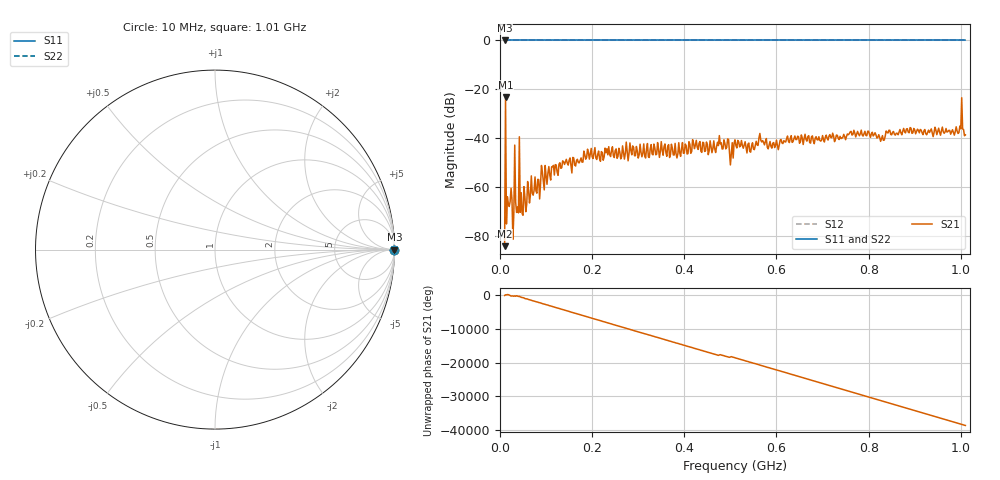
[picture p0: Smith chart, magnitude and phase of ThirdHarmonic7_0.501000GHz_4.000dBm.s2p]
! 8/17/2025 2:21:43 PM
! C:\ANRITSUVNA\TEMP\TEMP.S2P
! CHANNEL.1
! TR.MEASUREMENT
! RAW.DATA
! RF.CORRECTION.OFF
! AVERAGING.OFF
! IF.BANDWIDTH: 5KHZ
! SWEEPTYPE:  FREQ.SWEEP(Linear)
! Reference Plane Port Info
! PORT:  PORT1  PORT2
! DISTANCE:  0  m  0  m
! TIME:  0  s  0  s
! PHASE.OFFSET:  0  deg.  0  deg.
! LOSS:  0  dB  0  dB
! REF.LOSS:  0  dB  0  dB
! REF.FREQ:  0  Hz  0  Hz
! Power Info
! POWER:  -20  dBm  -20  dBm
! EFF.POWER:  -20  dBm  -20  dBm
! SOURCE.ATTEN:  0  dB  0  dB
! TEST.ATTEN:  0  dB  0  dB
# GHZ S RI R 50.0
! FREQ.GHZ  S11RE  S11IM  S21RE  S21IM  S12RE  S12IM  S22RE  S22IM
!; PortSelection: Port_12
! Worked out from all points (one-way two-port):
!   501 points, 10 MHz to 1.01 GHz, reference 50 ohm
!   highest |S21| = -23.33 dB at 12 MHz (marker M1); lowest = -84.2 dB at 10 MHz (marker M2)
!   lowest |S11| = 0.0 dB at 10 MHz (marker M3)
!   |S11| at or under -10 dB: nowhere
!   |S22| runs from 0.0 to 0.0 dB; largest |S21 - S12| = 1.1
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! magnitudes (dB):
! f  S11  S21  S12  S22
! 10 MHz  0.0  -84.2  0.0  0.0
! 12 MHz  0.0  -23.3  0.0  0.0
! 16 MHz  0.0  -63.9  0.0  0.0
! 18 MHz  0.0  -66.7  0.0  0.0
! 20 MHz  0.0  -67.9  0.0  0.0
! 42 MHz  0.0  -39.4  0.0  0.0
! 52 MHz  0.0  -59.8  0.0  0.0
! 64 MHz  0.0  -66.5  0.0  0.0
! 82 MHz  0.0  -56.8  0.0  0.0
! 94 MHz  0.0  -57.6  0.0  0.0
! 178 MHz  0.0  -49.8  0.0  0.0
! 344 MHz  0.0  -44.4  0.0  0.0
! 476 MHz  0.0  -38.9  0.0  0.0
! 502 MHz  0.0  -46.1  0.0  0.0
! 510 MHz  0.0  -40.7  0.0  0.0
! 678 MHz  0.0  -39.1  0.0  0.0
! 764 MHz  0.0  -38.7  0.0  0.0
! 830 MHz  0.0  -39.0  0.0  0.0
! 844 MHz  0.0  -36.7  0.0  0.0
! 982 MHz  0.0  -36.5  0.0  0.0
! 1.002 GHz  0.0  -23.4  0.0  0.0
! 1.01 GHz  0.0  -38.6  0.0  0.0
